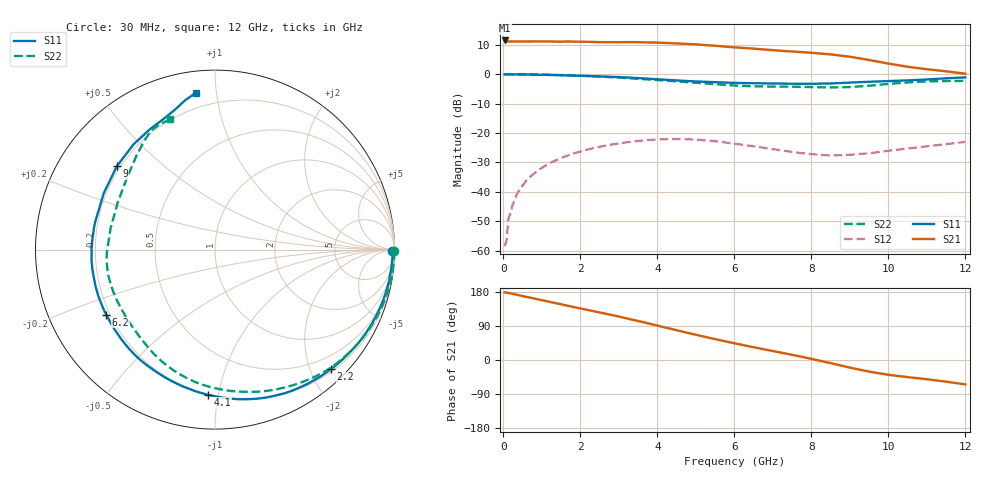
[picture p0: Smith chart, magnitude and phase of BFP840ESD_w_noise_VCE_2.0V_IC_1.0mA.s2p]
! Infineon Technologies  Discrete & RF Semiconductors
! BFP840ESD
! VCE =  2.0 V,  IC =  1.0 mA
! Common Emitter S-Parameters:  May 2012
# GHz  S  MA  R  50
!  f  S11  S21  S12  S22
! GHz  MAG  ANG  MAG  ANG  MAG  ANG  MAG  ANG
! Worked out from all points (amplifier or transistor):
!   93 points, 30 MHz to 12 GHz, reference 50 ohm
!   highest |S21| = 11.4 dB at 30 MHz (marker M1)
!   |S21| within 3 dB of that: start of sweep to 6.709 GHz
!   unconditionally stable (mu >= 1): 7.229 GHz to 11.01 GHz
!   at 1.1 GHz: K = 0.09, MSG = 21.1 dB, |S12| = -31.0 dB
!   at 4.2 GHz: K = 0.29, MSG = 16.3 dB, |S12| = -22.1 dB
!   at 12 GHz: K = 0.63, MSG = 11.6 dB, |S12| = -23.0 dB
!   lowest NFmin = 0.39 dB at 450 MHz
!   S11 on the Smith chart (normalised r, x): 30 MHz: open; 2.2 GHz: 0.24, -2.34; 4.1 GHz: 0.20, -0.94; 6.2 GHz: 0.18, -0.27; 9 GHz: 0.19, +0.36; 12 GHz: 0.11, +0.88
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0.03  0.9882 -0.6  3.727 178.7  0.0012 91.4  1 -0.6
0.08  0.9884 -1.6  3.544 177.8  0.0015 81.8  0.9993 -1.6
0.13  0.9897 -2.6  3.583 177.0  0.0035 87.7  0.9991 -2.5
0.23  0.9884 -4.7  3.58 174.8  0.0058 86.4  0.9978 -4.5
0.6  0.9834 -12.2  3.576 166.4  0.0157 77.6  0.9928 -11.6
1.1  0.9707 -22.5  3.594 155.7  0.0282 68.8  0.9788 -21.3
2.1  0.9321 -43.8  3.544 133.9  0.0507 49.8  0.9331 -41.2
2.2  0.9278 -45.9  3.528 131.7  0.0527 48.0  0.9279 -43.2
2.9  0.8949 -61.7  3.482 116.9  0.0651 34.9  0.8794 -57.9
3.4  0.8638 -74.0  3.49 105.2  0.0721 25.3  0.8403 -69.3
4.1  0.8101 -92.6  3.402 88.3  0.0782 11.7  0.7838 -86.4
4.7  0.7686 -109.6  3.268 73.7  0.0788 0.1  0.7365 -101.3
5.2  0.7429 -123.7  3.125 61.8  0.0755 -8.7  0.6977 -112.9
6.1  0.7078 -146.8  2.825 42.0  0.0645 -20.1  0.6361 -133.4
6.2  0.7062 -149.2  2.792 39.9  0.0633 -20.8  0.6319 -135.7
6.8  0.6955 -163.5  2.613 27.6  0.0557 -23.9  0.6159 -150.0
7.5  0.6881 179.4  2.421 13.6  0.0479 -23.4  0.6113 -166.3
8.5  0.6948 153.2  2.159 -8.3  0.0415 -14.2  0.5936 168.3
9  0.7177 139.6  1.973 -20.1  0.0427 -7.9  0.6028 153.8
9.5  0.7415 127.7  1.736 -30.7  0.0453 -3.7  0.635 140.2
10.5  0.7823 111.5  1.332 -45.2  0.0545 -0.7  0.7226 123.1
12  0.88 96.9  1.016 -64.4  0.0708 -4.1  0.7677 109.2
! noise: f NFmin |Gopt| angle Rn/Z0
0.45  0.39  0.82  4  0.56
0.9  0.4  0.84  10  0.53
1.5  0.52  0.84  22  0.46
1.9  0.58  0.83  25  0.41
2.4  0.64  0.74  35  0.38
3.5  0.77  0.64  61  0.31
5.5  1.05  0.52  116  0.21
8  1.41  0.6  -154  0.05
10  1.71  0.68  -119  0.18
12  2.06  0.64  -89  0.43
